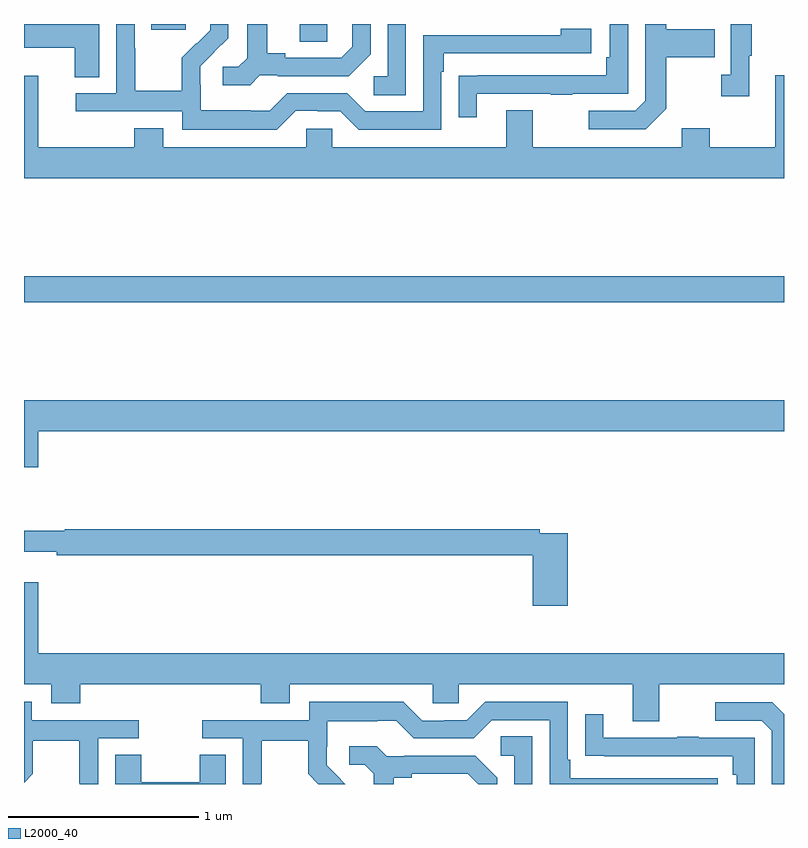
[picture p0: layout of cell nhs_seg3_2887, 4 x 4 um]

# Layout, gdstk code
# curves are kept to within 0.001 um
import gdstk
lib = gdstk.Library(unit=1e-6, precision=1e-09)
def R(c, l, rs):  # rectangles x0, y0, x1, y1
    for r in rs: c.add(gdstk.rectangle(r[:2], r[2:], *l))
def P(c, l, *ps):  # polygons
    for p in ps: c.add(gdstk.Polygon(p, *l))
L2000_40 = (2000, 40)

nhs_seg3_2887 = lib.new_cell('nhs_seg3_2887')
R(nhs_seg3_2887, L2000_40, [(261,694.936,265,695.072), (262.451,696.307,262.596,696.4), (261.671,696.369,261.85,696.4)])
P(nhs_seg3_2887, L2000_40, [(264.379,695.953),(264.379,696.226),(264.635,696.226),(264.635,696.373),(264.379,696.373),(264.379,696.4),(264.27,696.4),(264.27,695.997),(264.216,695.943),(263.973,695.943),(263.973,695.847),(264.273,695.847)],
  [(261.397,696.4),(261,696.4),(261,696.275),(261.266,696.275),(261.266,696.121),(261.397,696.121)],
  [(263.01,696.4),(262.914,696.4),(262.914,696.126),(262.842,696.126),(262.842,696.025),(263.01,696.025)],
  [(262.431,695.943),(262.547,695.943),(262.547,695.94),(262.665,695.94),(262.761,695.844),(263.196,695.844),(263.196,696.149),(263.209,696.149),(263.209,696.246),(263.986,696.246),(263.986,696.376),(263.825,696.376),(263.825,696.342),(263.1,696.342),(263.1,695.94),(262.797,695.94),(262.701,696.036),(262.386,696.036),(262.293,695.943),(262.193,695.943),(262.193,695.947),(261.93,695.947),(261.93,696.081),(261.928,696.081),(261.928,696.178),(262.074,696.326),(262.074,696.4),(261.98,696.4),(261.98,696.368),(261.909,696.297),(261.906,696.3),(261.829,696.223),(261.829,696.049),(261.585,696.049),(261.585,696.272),(261.582,696.272),(261.582,696.4),(261.486,696.4),(261.486,696.036),(261.273,696.036),(261.273,695.94),(261.834,695.94),(261.834,695.843),(262.331,695.843)],
  [(264.817,696.233),(264.829,696.233),(264.829,696.4),(264.72,696.4),(264.72,696.134),(264.669,696.134),(264.669,696.021),(264.817,696.021)],
  [(262.242,696.129),(262.336,696.129),(262.336,696.126),(262.708,696.126),(262.824,696.242),(262.824,696.4),(262.727,696.4),(262.727,696.279),(262.67,696.222),(262.375,696.222),(262.375,696.245),(262.279,696.245),(262.279,696.4),(262.175,696.4),(262.175,696.221),(262.128,696.174),(262.047,696.174),(262.047,696.077),(262.19,696.077)],
  [(263.383,696.033),(263.773,696.033),(263.773,696.028),(263.885,696.028),(263.885,696.033),(264.18,696.033),(264.18,696.4),(264.084,696.4),(264.084,696.226),(264.064,696.226),(264.064,696.129),(263.389,696.129),(263.389,696.128),(263.287,696.128),(263.287,695.91),(263.383,695.91)],
  [(265,696.13),(264.953,696.13),(264.953,695.752),(264.609,695.752),(264.609,695.851),(264.461,695.851),(264.461,695.752),(263.677,695.752),(263.677,695.947),(263.537,695.947),(263.537,695.752),(262.623,695.752),(262.623,695.85),(262.485,695.85),(262.485,695.752),(261.733,695.752),(261.733,695.851),(261.581,695.851),(261.581,695.752),(261.076,695.752),(261.076,696.127),(261,696.127),(261,695.588),(265,695.588)],
  [(261.076,694.256),(265,694.256),(265,694.42),(261,694.42),(261,694.068),(261.076,694.068)],
  [(263.861,693.72),(263.714,693.72),(263.714,693.74),(261.214,693.74),(261.214,693.733),(261,693.733),(261,693.623),(261.172,693.623),(261.172,693.604),(263.678,693.604),(263.678,693.339),(263.861,693.339)],
  [(264.343,692.924),(265,692.924),(265,693.088),(261.076,693.088),(261.076,693.463),(261,693.463),(261,692.924),(261.143,692.924),(261.143,692.825),(261.296,692.825),(261.296,692.924),(262.247,692.924),(262.247,692.825),(262.399,692.825),(262.399,692.924),(263.151,692.924),(263.151,692.826),(263.289,692.826),(263.289,692.924),(264.203,692.924),(264.203,692.73),(264.343,692.73)],
  [(262.248,692.404),(262.251,692.404),(262.251,692.628),(262.495,692.628),(262.495,692.453),(262.548,692.4),(262.69,692.4),(262.667,692.423),(262.668,692.424),(262.594,692.498),(262.594,692.595),(262.596,692.595),(262.596,692.729),(262.859,692.729),(262.859,692.733),(262.959,692.733),(263.052,692.64),(263.367,692.64),(263.463,692.736),(263.766,692.736),(263.766,692.4),(264.652,692.4),(264.652,692.43),(263.875,692.43),(263.875,692.527),(263.862,692.527),(263.862,692.832),(263.427,692.832),(263.331,692.736),(263.213,692.736),(263.213,692.733),(263.097,692.733),(262.997,692.833),(262.5,692.833),(262.5,692.736),(261.939,692.736),(261.939,692.64),(262.152,692.64),(262.152,692.4),(262.248,692.4)],
  [(261.39,692.64),(261.604,692.64),(261.604,692.736),(261.042,692.736),(261.042,692.833),(261,692.833),(261,692.406),(261.047,692.453),(261.047,692.628),(261.291,692.628),(261.291,692.404),(261.294,692.404),(261.294,692.4),(261.39,692.4)],
  [(265,692.768),(264.939,692.829),(264.639,692.829),(264.639,692.733),(264.882,692.733),(264.936,692.679),(264.936,692.4),(265,692.4)],
  [(264.846,692.643),(264.551,692.643),(264.551,692.648),(264.439,692.648),(264.439,692.643),(264.049,692.643),(264.049,692.767),(263.953,692.767),(263.953,692.548),(264.055,692.548),(264.055,692.547),(264.73,692.547),(264.73,692.45),(264.75,692.45),(264.75,692.4),(264.846,692.4)],
  [(263.676,692.651),(263.508,692.651),(263.508,692.55),(263.58,692.55),(263.58,692.4),(263.676,692.4)],
  [(262.945,692.432),(263.041,692.432),(263.041,692.454),(263.336,692.454),(263.39,692.4),(263.49,692.4),(263.49,692.434),(263.374,692.55),(263.002,692.55),(263.002,692.547),(262.908,692.547),(262.856,692.599),(262.713,692.599),(262.713,692.502),(262.794,692.502),(262.841,692.455),(262.841,692.4),(262.945,692.4)],
  [(262.063,692.555),(261.925,692.555),(261.925,692.408),(261.618,692.408),(261.618,692.555),(261.479,692.555),(261.479,692.4),(262.063,692.4)])

lib.write_gds('nhs_seg3_2887.gds')
